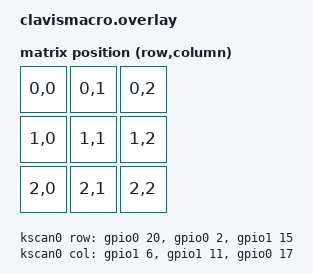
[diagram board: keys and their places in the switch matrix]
#include <dt-bindings/zmk/matrix_transform.h>

/ {
    chosen {
        zmk,kscan = &kscan0;
        zmk,matrix-transform = &default_transform;
    };

    /*
     * ClavisMacro 3x3
     *
     * Rows:
     * R0 = P0.20
     * R1 = P0.02
     * R2 = P1.15
     *
     * Columns:
     * C0 = P1.06
     * C1 = P1.11
     * C2 = P0.17
     */
    kscan0: kscan {
        compatible = "zmk,kscan-gpio-matrix";

        diode-direction = "col2row";

        debounce-press-ms = <5>;
        debounce-release-ms = <5>;
        poll-period-ms = <10>;

        row-gpios
            = <&gpio0 20 GPIO_ACTIVE_LOW>
            , <&gpio0 2  GPIO_ACTIVE_LOW>
            , <&gpio1 15 GPIO_ACTIVE_LOW>
            ;

        col-gpios
            = <&gpio1 6  (GPIO_ACTIVE_LOW | GPIO_PULL_UP)>
            , <&gpio1 11 (GPIO_ACTIVE_LOW | GPIO_PULL_UP)>
            , <&gpio0 17 (GPIO_ACTIVE_LOW | GPIO_PULL_UP)>
            ;
    };

    default_transform: matrix_transform {
        compatible = "zmk,matrix-transform";

        rows = <3>;
        columns = <3>;

        map = <
            RC(0, 0) RC(0, 1) RC(0, 2)
            RC(1, 0) RC(1, 1) RC(1, 2)
            RC(2, 0) RC(2, 1) RC(2, 2)
        >;
    };
};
